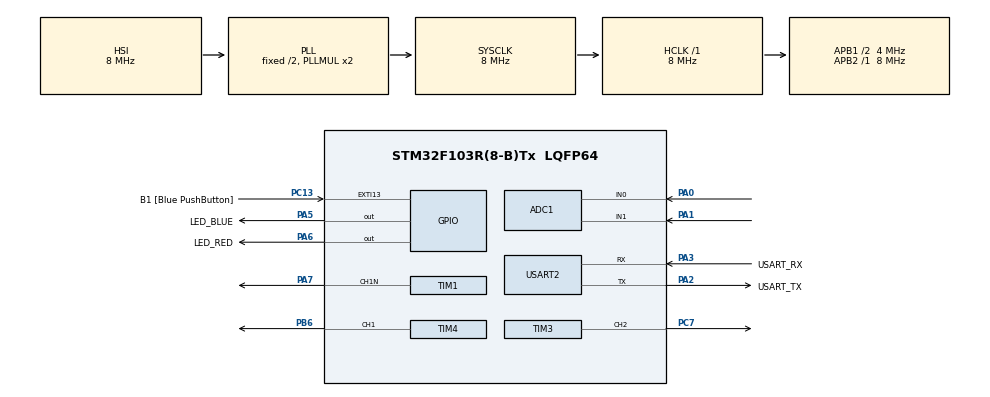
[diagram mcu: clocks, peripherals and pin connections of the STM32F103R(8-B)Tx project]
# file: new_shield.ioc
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ADC1.Channel-0\#ChannelRegularConversion=ADC_CHANNEL_1
ADC1.Channel-1\#ChannelRegularConversion=ADC_CHANNEL_0
ADC1.ContinuousConvMode=DISABLE
ADC1.DiscontinuousConvMode=ENABLE
ADC1.ExternalTrigConv=ADC_EXTERNALTRIGCONV_T2_CC2
ADC1.NbrOfConversion=2
ADC1.NbrOfConversionFlag=1
ADC1.NbrOfDiscConversion=2
ADC1.Rank-0\#ChannelRegularConversion=1
ADC1.Rank-1\#ChannelRegularConversion=2
ADC1.SamplingTime-0\#ChannelRegularConversion=ADC_SAMPLETIME_1CYCLE_5
ADC1.SamplingTime-1\#ChannelRegularConversion=ADC_SAMPLETIME_1CYCLE_5
ADC1.master=1
Dma.ADC1.0.Direction=DMA_PERIPH_TO_MEMORY
Dma.ADC1.0.Instance=DMA1_Channel1
Dma.ADC1.0.MemDataAlignment=DMA_MDATAALIGN_WORD
Dma.ADC1.0.MemInc=DMA_MINC_ENABLE
Dma.ADC1.0.Mode=DMA_CIRCULAR
Dma.ADC1.0.PeriphDataAlignment=DMA_PDATAALIGN_WORD
Dma.ADC1.0.PeriphInc=DMA_PINC_DISABLE
Dma.ADC1.0.Priority=DMA_PRIORITY_LOW
Dma.Request0=ADC1
Mcu.Family=STM32F1
Mcu.Name=STM32F103R(8-B)Tx
Mcu.Package=LQFP64
NVIC.DMA1_Channel1_IRQn=true\:0\:0\:false\:false\:true\:false\:true\:true
NVIC.EXTI15_10_IRQn=true\:0\:0\:false\:false\:true\:true\:true\:true
NVIC.PriorityGroup=NVIC_PRIORITYGROUP_4
NVIC.USART2_IRQn=true\:0\:0\:false\:false\:true\:true\:true\:true
PA0-WKUP.Signal=ADCx_IN0
PA1.Signal=ADCx_IN1
PA13.GPIO_Label=TMS
PA13.Mode=Serial_Wire
PA13.Signal=SYS_JTMS-SWDIO
PA14.GPIO_Label=TCK
PA14.Mode=Serial_Wire
PA14.Signal=SYS_JTCK-SWCLK
PA2.GPIO_Label=USART_TX
PA2.GPIO_Mode=GPIO_MODE_AF_PP
PA2.GPIO_PuPd=GPIO_NOPULL
PA2.GPIO_Speed=GPIO_SPEED_FREQ_LOW
PA2.Mode=Asynchronous
PA2.Signal=USART2_TX
PA3.GPIO_Label=USART_RX
PA3.GPIO_Mode=GPIO_MODE_AF_PP
PA3.GPIO_PuPd=GPIO_NOPULL
PA3.GPIO_Speed=GPIO_SPEED_FREQ_LOW
PA3.Mode=Asynchronous
PA3.Signal=USART2_RX
PA5.GPIO_Label=LED_BLUE
PA5.GPIO_ModeDefaultOutputPP=GPIO_MODE_OUTPUT_PP
PA5.GPIO_PuPd=GPIO_NOPULL
PA5.GPIO_Speed=GPIO_SPEED_FREQ_LOW
PA5.Signal=GPIO_Output
PA6.GPIO_Label=LED_RED
PA6.Signal=GPIO_Output
PA7.Mode=PWM Generation1 CH1N
PA7.Signal=TIM1_CH1N
PB6.Signal=S_TIM4_CH1
PC13-TAMPER-RTC.GPIO_Label=B1 [Blue PushButton]
PC13-TAMPER-RTC.GPIO_PuPd=GPIO_NOPULL
PC13-TAMPER-RTC.Signal=GPXTI13
PC14-OSC32_IN.Mode=LSE-External-Oscillator
PC14-OSC32_IN.Signal=RCC_OSC32_IN
PC15-OSC32_OUT.Mode=LSE-External-Oscillator
PC15-OSC32_OUT.Signal=RCC_OSC32_OUT
PC7.Signal=S_TIM3_CH2
PD0-OSC_IN.Mode=HSE-External-Clock-Source
PD0-OSC_IN.Signal=RCC_OSC_IN
PD1-OSC_OUT.Mode=HSE-External-Clock-Source
PD1-OSC_OUT.Signal=RCC_OSC_OUT
ProjectManager.HeapSize=0x200
ProjectManager.StackSize=0x400
ProjectManager.TargetToolchain=MDK-ARM V5.32
RCC.AHBFreq_Value=8000000
RCC.APB1CLKDivider=RCC_HCLK_DIV2
RCC.APB1Freq_Value=4000000
RCC.APB1TimFreq_Value=8000000
RCC.APB2Freq_Value=8000000
RCC.APB2TimFreq_Value=8000000
RCC.HCLKFreq_Value=8000000
RCC.RTCClockSelection=RCC_RTCCLKSOURCE_LSE
RCC.SYSCLKFreq_VALUE=8000000
RCC.SYSCLKSource=RCC_SYSCLKSOURCE_PLLCLK
RCC.USBFreq_Value=8000000
SH.ADCx_IN0.0=ADC1_IN0,IN0
SH.ADCx_IN1.0=ADC1_IN1,IN1
SH.S_TIM3_CH2.0=TIM3_CH2,PWM Generation2 CH2
SH.S_TIM4_CH1.0=TIM4_CH1,PWM Generation1 CH1
TIM1.Channel-PWM\ Generation1\ CH1N=TIM_CHANNEL_1
TIM1.Period=255 - 1
TIM1.Prescaler=123 - 1
TIM2.Channel-Output\ Compare2\ No\ Output=TIM_CHANNEL_2
TIM2.OCMode_2=TIM_OCMODE_TOGGLE
TIM2.Period=99
TIM2.Prescaler=7999
TIM2.TIM_MasterOutputTrigger=TIM_TRGO_RESET
TIM3.Channel-PWM\ Generation2\ CH2=TIM_CHANNEL_2
TIM3.Period=255 - 1
TIM3.Prescaler=123 - 1
TIM4.Channel-PWM\ Generation1\ CH1=TIM_CHANNEL_1
TIM4.Period=255 - 1
TIM4.Prescaler=123 - 1
TIM4.TIM_MasterOutputTrigger=TIM_TRGO_OC4REF
USART2.VirtualMode=VM_ASYNC
VP_TIM1_VS_ClockSourceINT.Mode=Internal
VP_TIM2_VS_no_output2.Mode=Output Compare2 No Output
VP_TIM3_VS_ClockSourceINT.Mode=Internal
board=NUCLEO-F103RB

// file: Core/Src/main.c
/* USER CODE BEGIN Header */
/**
  ******************************************************************************
  * @file           : main.c
  * @brief          : Main program body
  ******************************************************************************
  * @attention
  *
  * Copyright (c) 2022 STMicroelectronics.
  * All rights reserved.
  *
  * This software is licensed under terms that can be found in the LICENSE file
  * in the root directory of this software component.
  * If no LICENSE file comes with this software, it is provided AS-IS.
  *
  ******************************************************************************
  */
/* USER CODE END Header */
#include "main.h"

/* USER CODE BEGIN Includes */
#include "string.h"
/* USER CODE END Includes */

ADC_HandleTypeDef hadc1;
DMA_HandleTypeDef hdma_adc1;

TIM_HandleTypeDef htim1;
TIM_HandleTypeDef htim2;
TIM_HandleTypeDef htim3;
TIM_HandleTypeDef htim4;

UART_HandleTypeDef huart2;

/* USER CODE BEGIN PV */
uint32_t dma_buff[2];
//char rgb_command[21];
uint8_t rx_data;
uint8_t rx_index = 0;
uint8_t rx_buffer[25];
/* USER CODE END PV */

void SystemClock_Config(void);
static void MX_GPIO_Init(void);
static void MX_DMA_Init(void);
static void MX_ADC1_Init(void);
static void MX_USART2_UART_Init(void);
static void MX_TIM4_Init(void);
static void MX_TIM1_Init(void);
static void MX_TIM2_Init(void);
static void MX_TIM3_Init(void);

/* USER CODE BEGIN 0 */
void set_rgb (uint8_t red, uint8_t green, uint8_t blue)
{
		htim3.Instance->CCR2 = red;
		htim1.Instance->CCR1 = green;
		htim4.Instance->CCR1 = blue;
}

void HAL_ADC_ConvCpltCallback(ADC_HandleTypeDef* hadc)
{
    if(hadc->Instance == ADC1)
    {
      char cmd[50];
			uint16_t light;
			float potentiomentr;
			light = ((double)dma_buff[0] / 4095) * 100;
			potentiomentr = dma_buff[1] * 3.3 / 4095;
			                            //Potentiometr  // Light
			snprintf(cmd, 50, "%.2f,%d;\n", potentiomentr, light);
			HAL_UART_Transmit_IT(&huart2, (uint8_t*)cmd, strlen(cmd));
    }
}

void rgb_callback() {
  if (rx_data != ';' && rx_index < 25) {
	  rx_buffer[rx_index++] = rx_data;
	} else {
			int r = 0, g = 0, b = 0;
			if (sscanf(rx_buffer, "RGB=r:%d,g:%d,b:%d", &r, &g, &b) >= 1) {
				set_rgb(r, g, b);
			} else if (sscanf(rx_buffer, "LedB:%d", &b) >= 1) {
				if (b) {
					HAL_GPIO_WritePin(LED_BLUE_GPIO_Port, LED_BLUE_Pin, GPIO_PIN_SET);
				} else {
					HAL_GPIO_WritePin(LED_BLUE_GPIO_Port, LED_BLUE_Pin, GPIO_PIN_RESET);
				}
			} else if (sscanf(rx_buffer, "LedR:%d", &r) >= 1) {
				if (r) {
					HAL_GPIO_WritePin(LED_RED_GPIO_Port, LED_RED_Pin, GPIO_PIN_SET);
				} else {
					HAL_GPIO_WritePin(LED_RED_GPIO_Port, LED_RED_Pin, GPIO_PIN_RESET);
				}
			}
			rx_index = 0;
			memset(rx_buffer, 0, 25);
	}

	HAL_UART_Receive_IT(&huart2, &rx_data, 1);
}

void HAL_UART_RxCpltCallback(UART_HandleTypeDef *huart)
{
		if(huart == &huart2)
    {
			rgb_callback();
    }
}
/* USER CODE END 0 */

int main(void)
{

  /* MCU Configuration--------------------------------------------------------*/

  /* Reset of all peripherals, Initializes the Flash interface and the Systick. */
  HAL_Init();

  /* Configure the system clock */
  SystemClock_Config();

  /* Initialize all configured peripherals */
  MX_GPIO_Init();
  MX_DMA_Init();
  MX_ADC1_Init();
  MX_USART2_UART_Init();
  MX_TIM4_Init();
  MX_TIM1_Init();
  MX_TIM2_Init();
  MX_TIM3_Init();
  /* USER CODE BEGIN 2 */
	HAL_ADCEx_Calibration_Start(&hadc1);
	HAL_TIM_OC_Start(&htim2, TIM_CHANNEL_2);
	HAL_ADC_Start_DMA(&hadc1, dma_buff, 2);

	HAL_TIM_PWM_Start(&htim3, TIM_CHANNEL_2);
	HAL_TIMEx_PWMN_Start(&htim1, TIM_CHANNEL_1);
	HAL_TIM_PWM_Start(&htim4, TIM_CHANNEL_1);

	HAL_UART_Receive_IT(&huart2, &rx_data, 1);
  /* USER CODE END 2 */

  /* Infinite loop */
  while (1)
  {

  }
}

void SystemClock_Config(void)
{
  RCC_OscInitTypeDef RCC_OscInitStruct = {0};
  RCC_ClkInitTypeDef RCC_ClkInitStruct = {0};
  RCC_PeriphCLKInitTypeDef PeriphClkInit = {0};

  /** Initializes the RCC Oscillators according to the specified parameters
  * in the RCC_OscInitTypeDef structure.
  */
  RCC_OscInitStruct.OscillatorType = RCC_OSCILLATORTYPE_HSI;
  RCC_OscInitStruct.HSIState = RCC_HSI_ON;
  RCC_OscInitStruct.HSICalibrationValue = RCC_HSICALIBRATION_DEFAULT;
  RCC_OscInitStruct.PLL.PLLState = RCC_PLL_ON;
  RCC_OscInitStruct.PLL.PLLSource = RCC_PLLSOURCE_HSI_DIV2;
  RCC_OscInitStruct.PLL.PLLMUL = RCC_PLL_MUL2;
  if (HAL_RCC_OscConfig(&RCC_OscInitStruct) != HAL_OK)
  {
    Error_Handler();
  }

  /** Initializes the CPU, AHB and APB buses clocks
  */
  RCC_ClkInitStruct.ClockType = RCC_CLOCKTYPE_HCLK|RCC_CLOCKTYPE_SYSCLK
                              |RCC_CLOCKTYPE_PCLK1|RCC_CLOCKTYPE_PCLK2;
  RCC_ClkInitStruct.SYSCLKSource = RCC_SYSCLKSOURCE_PLLCLK;
  RCC_ClkInitStruct.AHBCLKDivider = RCC_SYSCLK_DIV1;
  RCC_ClkInitStruct.APB1CLKDivider = RCC_HCLK_DIV2;
  RCC_ClkInitStruct.APB2CLKDivider = RCC_HCLK_DIV1;

  if (HAL_RCC_ClockConfig(&RCC_ClkInitStruct, FLASH_LATENCY_0) != HAL_OK)
  {
    Error_Handler();
  }
  PeriphClkInit.PeriphClockSelection = RCC_PERIPHCLK_ADC;
  PeriphClkInit.AdcClockSelection = RCC_ADCPCLK2_DIV2;
  if (HAL_RCCEx_PeriphCLKConfig(&PeriphClkInit) != HAL_OK)
  {
    Error_Handler();
  }
}

static void MX_ADC1_Init(void)
{

  ADC_ChannelConfTypeDef sConfig = {0};

  /** Common config
  */
  hadc1.Instance = ADC1;
  hadc1.Init.ScanConvMode = ADC_SCAN_ENABLE;
  hadc1.Init.ContinuousConvMode = DISABLE;
  hadc1.Init.DiscontinuousConvMode = ENABLE;
  hadc1.Init.NbrOfDiscConversion = 2;
  hadc1.Init.ExternalTrigConv = ADC_EXTERNALTRIGCONV_T2_CC2;
  hadc1.Init.DataAlign = ADC_DATAALIGN_RIGHT;
  hadc1.Init.NbrOfConversion = 2;
  if (HAL_ADC_Init(&hadc1) != HAL_OK)
  {
    Error_Handler();
  }

  /** Configure Regular Channel
  */
  sConfig.Channel = ADC_CHANNEL_1;
  sConfig.Rank = ADC_REGULAR_RANK_1;
  sConfig.SamplingTime = ADC_SAMPLETIME_1CYCLE_5;
  if (HAL_ADC_ConfigChannel(&hadc1, &sConfig) != HAL_OK)
  {
    Error_Handler();
  }

  /** Configure Regular Channel
  */
  sConfig.Channel = ADC_CHANNEL_0;
  sConfig.Rank = ADC_REGULAR_RANK_2;
  if (HAL_ADC_ConfigChannel(&hadc1, &sConfig) != HAL_OK)
  {
    Error_Handler();
  }

}

static void MX_TIM1_Init(void)
{

  TIM_ClockConfigTypeDef sClockSourceConfig = {0};
  TIM_MasterConfigTypeDef sMasterConfig = {0};
  TIM_OC_InitTypeDef sConfigOC = {0};
  TIM_BreakDeadTimeConfigTypeDef sBreakDeadTimeConfig = {0};

  htim1.Instance = TIM1;
  htim1.Init.Prescaler = 123 - 1;
  htim1.Init.CounterMode = TIM_COUNTERMODE_UP;
  htim1.Init.Period = 255 - 1;
  htim1.Init.ClockDivision = TIM_CLOCKDIVISION_DIV1;
  htim1.Init.RepetitionCounter = 0;
  htim1.Init.AutoReloadPreload = TIM_AUTORELOAD_PRELOAD_DISABLE;
  if (HAL_TIM_Base_Init(&htim1) != HAL_OK)
  {
    Error_Handler();
  }
  sClockSourceConfig.ClockSource = TIM_CLOCKSOURCE_INTERNAL;
  if (HAL_TIM_ConfigClockSource(&htim1, &sClockSourceConfig) != HAL_OK)
  {
    Error_Handler();
  }
  if (HAL_TIM_PWM_Init(&htim1) != HAL_OK)
  {
    Error_Handler();
  }
  sMasterConfig.MasterOutputTrigger = TIM_TRGO_RESET;
  sMasterConfig.MasterSlaveMode = TIM_MASTERSLAVEMODE_DISABLE;
  if (HAL_TIMEx_MasterConfigSynchronization(&htim1, &sMasterConfig) != HAL_OK)
  {
    Error_Handler();
  }
  sConfigOC.OCMode = TIM_OCMODE_PWM1;
  sConfigOC.Pulse = 0;
  sConfigOC.OCPolarity = TIM_OCPOLARITY_HIGH;
  sConfigOC.OCNPolarity = TIM_OCNPOLARITY_HIGH;
  sConfigOC.OCFastMode = TIM_OCFAST_DISABLE;
  sConfigOC.OCIdleState = TIM_OCIDLESTATE_RESET;
  sConfigOC.OCNIdleState = TIM_OCNIDLESTATE_RESET;
  if (HAL_TIM_PWM_ConfigChannel(&htim1, &sConfigOC, TIM_CHANNEL_1) != HAL_OK)
  {
    Error_Handler();
  }
  sBreakDeadTimeConfig.OffStateRunMode = TIM_OSSR_DISABLE;
  sBreakDeadTimeConfig.OffStateIDLEMode = TIM_OSSI_DISABLE;
  sBreakDeadTimeConfig.LockLevel = TIM_LOCKLEVEL_OFF;
  sBreakDeadTimeConfig.DeadTime = 0;
  sBreakDeadTimeConfig.BreakState = TIM_BREAK_DISABLE;
  sBreakDeadTimeConfig.BreakPolarity = TIM_BREAKPOLARITY_HIGH;
  sBreakDeadTimeConfig.AutomaticOutput = TIM_AUTOMATICOUTPUT_DISABLE;
  if (HAL_TIMEx_ConfigBreakDeadTime(&htim1, &sBreakDeadTimeConfig) != HAL_OK)
  {
    Error_Handler();
  }
  HAL_TIM_MspPostInit(&htim1);

}

static void MX_TIM2_Init(void)
{

  TIM_MasterConfigTypeDef sMasterConfig = {0};
  TIM_OC_InitTypeDef sConfigOC = {0};

  htim2.Instance = TIM2;
  htim2.Init.Prescaler = 7999;
  htim2.Init.CounterMode = TIM_COUNTERMODE_UP;
  htim2.Init.Period = 99;
  htim2.Init.ClockDivision = TIM_CLOCKDIVISION_DIV1;
  htim2.Init.AutoReloadPreload = TIM_AUTORELOAD_PRELOAD_DISABLE;
  if (HAL_TIM_OC_Init(&htim2) != HAL_OK)
  {
    Error_Handler();
  }
  sMasterConfig.MasterOutputTrigger = TIM_TRGO_RESET;
  sMasterConfig.MasterSlaveMode = TIM_MASTERSLAVEMODE_DISABLE;
  if (HAL_TIMEx_MasterConfigSynchronization(&htim2, &sMasterConfig) != HAL_OK)
  {
    Error_Handler();
  }
  sConfigOC.OCMode = TIM_OCMODE_TOGGLE;
  sConfigOC.Pulse = 0;
  sConfigOC.OCPolarity = TIM_OCPOLARITY_HIGH;
  sConfigOC.OCFastMode = TIM_OCFAST_DISABLE;
  if (HAL_TIM_OC_ConfigChannel(&htim2, &sConfigOC, TIM_CHANNEL_2) != HAL_OK)
  {
    Error_Handler();
  }

}

static void MX_TIM3_Init(void)
{

  TIM_ClockConfigTypeDef sClockSourceConfig = {0};
  TIM_MasterConfigTypeDef sMasterConfig = {0};
  TIM_OC_InitTypeDef sConfigOC = {0};

  htim3.Instance = TIM3;
  htim3.Init.Prescaler = 123 - 1;
  htim3.Init.CounterMode = TIM_COUNTERMODE_UP;
  htim3.Init.Period = 255 - 1;
  htim3.Init.ClockDivision = TIM_CLOCKDIVISION_DIV1;
  htim3.Init.AutoReloadPreload = TIM_AUTORELOAD_PRELOAD_DISABLE;
  if (HAL_TIM_Base_Init(&htim3) != HAL_OK)
  {
    Error_Handler();
  }
  sClockSourceConfig.ClockSource = TIM_CLOCKSOURCE_INTERNAL;
  if (HAL_TIM_ConfigClockSource(&htim3, &sClockSourceConfig) != HAL_OK)
  {
    Error_Handler();
  }
  if (HAL_TIM_PWM_Init(&htim3) != HAL_OK)
  {
    Error_Handler();
  }
  sMasterConfig.MasterOutputTrigger = TIM_TRGO_RESET;
  sMasterConfig.MasterSlaveMode = TIM_MASTERSLAVEMODE_DISABLE;
  if (HAL_TIMEx_MasterConfigSynchronization(&htim3, &sMasterConfig) != HAL_OK)
  {
    Error_Handler();
  }
  sConfigOC.OCMode = TIM_OCMODE_PWM1;
  sConfigOC.Pulse = 0;
  sConfigOC.OCPolarity = TIM_OCPOLARITY_HIGH;
  sConfigOC.OCFastMode = TIM_OCFAST_DISABLE;
  if (HAL_TIM_PWM_ConfigChannel(&htim3, &sConfigOC, TIM_CHANNEL_2) != HAL_OK)
  {
    Error_Handler();
  }
  HAL_TIM_MspPostInit(&htim3);

}

static void MX_TIM4_Init(void)
{

  TIM_MasterConfigTypeDef sMasterConfig = {0};
  TIM_OC_InitTypeDef sConfigOC = {0};

  htim4.Instance = TIM4;
  htim4.Init.Prescaler = 123 - 1;
  htim4.Init.CounterMode = TIM_COUNTERMODE_UP;
  htim4.Init.Period = 255 - 1;
  htim4.Init.ClockDivision = TIM_CLOCKDIVISION_DIV1;
  htim4.Init.AutoReloadPreload = TIM_AUTORELOAD_PRELOAD_DISABLE;
  if (HAL_TIM_PWM_Init(&htim4) != HAL_OK)
  {
    Error_Handler();
  }
  sMasterConfig.MasterOutputTrigger = TIM_TRGO_OC4REF;
  sMasterConfig.MasterSlaveMode = TIM_MASTERSLAVEMODE_DISABLE;
  if (HAL_TIMEx_MasterConfigSynchronization(&htim4, &sMasterConfig) != HAL_OK)
  {
    Error_Handler();
  }
  sConfigOC.OCMode = TIM_OCMODE_PWM1;
  sConfigOC.Pulse = 0;
  sConfigOC.OCPolarity = TIM_OCPOLARITY_HIGH;
  sConfigOC.OCFastMode = TIM_OCFAST_DISABLE;
  if (HAL_TIM_PWM_ConfigChannel(&htim4, &sConfigOC, TIM_CHANNEL_1) != HAL_OK)
  {
    Error_Handler();
  }
  HAL_TIM_MspPostInit(&htim4);

}

static void MX_USART2_UART_Init(void)
{

  huart2.Instance = USART2;
  huart2.Init.BaudRate = 115200;
  huart2.Init.WordLength = UART_WORDLENGTH_8B;
  huart2.Init.StopBits = UART_STOPBITS_1;
  huart2.Init.Parity = UART_PARITY_NONE;
  huart2.Init.Mode = UART_MODE_TX_RX;
  huart2.Init.HwFlowCtl = UART_HWCONTROL_NONE;
  huart2.Init.OverSampling = UART_OVERSAMPLING_16;
  if (HAL_UART_Init(&huart2) != HAL_OK)
  {
    Error_Handler();
  }

}

static void MX_DMA_Init(void)
{

  /* DMA controller clock enable */
  __HAL_RCC_DMA1_CLK_ENABLE();

  /* DMA interrupt init */
  /* DMA1_Channel1_IRQn interrupt configuration */
  HAL_NVIC_SetPriority(DMA1_Channel1_IRQn, 0, 0);
  HAL_NVIC_EnableIRQ(DMA1_Channel1_IRQn);

}

static void MX_GPIO_Init(void)
{
  GPIO_InitTypeDef GPIO_InitStruct = {0};

  /* GPIO Ports Clock Enable */
  __HAL_RCC_GPIOC_CLK_ENABLE();
  __HAL_RCC_GPIOD_CLK_ENABLE();
  __HAL_RCC_GPIOA_CLK_ENABLE();
  __HAL_RCC_GPIOB_CLK_ENABLE();

  /*Configure GPIO pin Output Level */
  HAL_GPIO_WritePin(GPIOA, LED_BLUE_Pin|LED_RED_Pin, GPIO_PIN_RESET);

  /*Configure GPIO pin : B1_Pin */
  GPIO_InitStruct.Pin = B1_Pin;
  GPIO_InitStruct.Mode = GPIO_MODE_IT_RISING;
  GPIO_InitStruct.Pull = GPIO_NOPULL;
  HAL_GPIO_Init(B1_GPIO_Port, &GPIO_InitStruct);

  /*Configure GPIO pins : LED_BLUE_Pin LED_RED_Pin */
  GPIO_InitStruct.Pin = LED_BLUE_Pin|LED_RED_Pin;
  GPIO_InitStruct.Mode = GPIO_MODE_OUTPUT_PP;
  GPIO_InitStruct.Pull = GPIO_NOPULL;
  GPIO_InitStruct.Speed = GPIO_SPEED_FREQ_LOW;
  HAL_GPIO_Init(GPIOA, &GPIO_InitStruct);

  /* EXTI interrupt init*/
  HAL_NVIC_SetPriority(EXTI15_10_IRQn, 0, 0);
  HAL_NVIC_EnableIRQ(EXTI15_10_IRQn);

}

void Error_Handler(void)
{
  __disable_irq();
  while (1)
  {
  }
}
